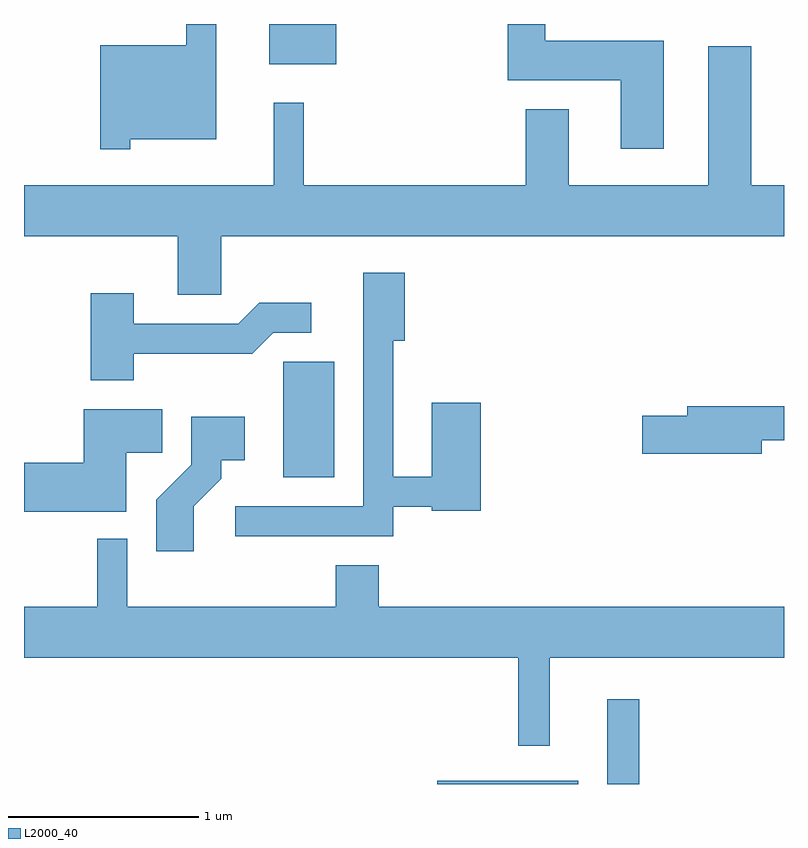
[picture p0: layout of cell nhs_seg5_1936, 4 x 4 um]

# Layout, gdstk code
import gdstk
lib = gdstk.Library(unit=1e-6, precision=1e-09)
def R(c, l, rs):  # rectangles x0, y0, x1, y1
    for r in rs: c.add(gdstk.rectangle(r[:2], r[2:], *l))
def P(c, l, *ps):  # polygons
    for p in ps: c.add(gdstk.Polygon(p, *l))
L2000_40 = (2000, 40)

nhs_seg5_1936 = lib.new_cell('nhs_seg5_1936')
R(nhs_seg5_1936, L2000_40, [(243.786,1516.072,244.529,1516.089), (244.681,1516.072,244.849,1516.518), (242.976,1517.686,243.244,1518.294), (242.901,1519.861,243.254,1520.072)])
P(nhs_seg5_1936, L2000_40, [(244.979,1519.984),(244.354,1519.984),(244.354,1520.072),(244.156,1520.072),(244.156,1519.776),(244.751,1519.776),(244.751,1519.416),(244.979,1519.416)],
  [(242.169,1519.466),(242.624,1519.466),(242.624,1520.072),(242.466,1520.072),(242.466,1519.959),(242.011,1519.959),(242.011,1519.413),(242.169,1519.413)],
  [(242.649,1518.956),(245.611,1518.956),(245.611,1519.224),(245.439,1519.224),(245.439,1519.954),(245.211,1519.954),(245.211,1519.224),(244.479,1519.224),(244.479,1519.624),(244.251,1519.624),(244.251,1519.224),(243.084,1519.224),(243.084,1519.658),(242.926,1519.658),(242.926,1519.224),(241.611,1519.224),(241.611,1518.956),(242.421,1518.956),(242.421,1518.646),(242.649,1518.646)],
  [(243.554,1517.531),(243.756,1517.531),(243.756,1517.511),(244.014,1517.511),(244.014,1518.079),(243.756,1518.079),(243.756,1517.689),(243.554,1517.689),(243.554,1518.406),(243.614,1518.406),(243.614,1518.764),(243.396,1518.764),(243.396,1517.534),(242.723,1517.534),(242.723,1517.376),(243.554,1517.376)],
  [(242.189,1518.336),(242.812,1518.336),(242.922,1518.446),(243.123,1518.446),(243.123,1518.604),(242.849,1518.604),(242.739,1518.494),(242.189,1518.494),(242.189,1518.654),(241.961,1518.654),(241.961,1518.196),(242.189,1518.196)],
  [(245.494,1517.881),(245.611,1517.881),(245.611,1518.059),(245.101,1518.059),(245.101,1518.009),(244.866,1518.009),(244.866,1517.811),(245.494,1517.811)],
  [(242.149,1517.816),(242.339,1517.816),(242.339,1518.044),(241.926,1518.044),(241.926,1517.764),(241.611,1517.764),(241.611,1517.506),(242.149,1517.506)],
  [(242.504,1517.534),(242.649,1517.679),(242.649,1517.776),(242.774,1517.776),(242.774,1518.004),(242.491,1518.004),(242.491,1517.752),(242.306,1517.567),(242.306,1517.296),(242.504,1517.296)],
  [(244.379,1516.736),(245.611,1516.736),(245.611,1517.004),(243.479,1517.004),(243.479,1517.224),(243.251,1517.224),(243.251,1517.004),(242.154,1517.004),(242.154,1517.363),(241.996,1517.363),(241.996,1517.004),(241.611,1517.004),(241.611,1516.736),(244.211,1516.736),(244.211,1516.273),(244.379,1516.273)])

lib.write_gds('nhs_seg5_1936.gds')
